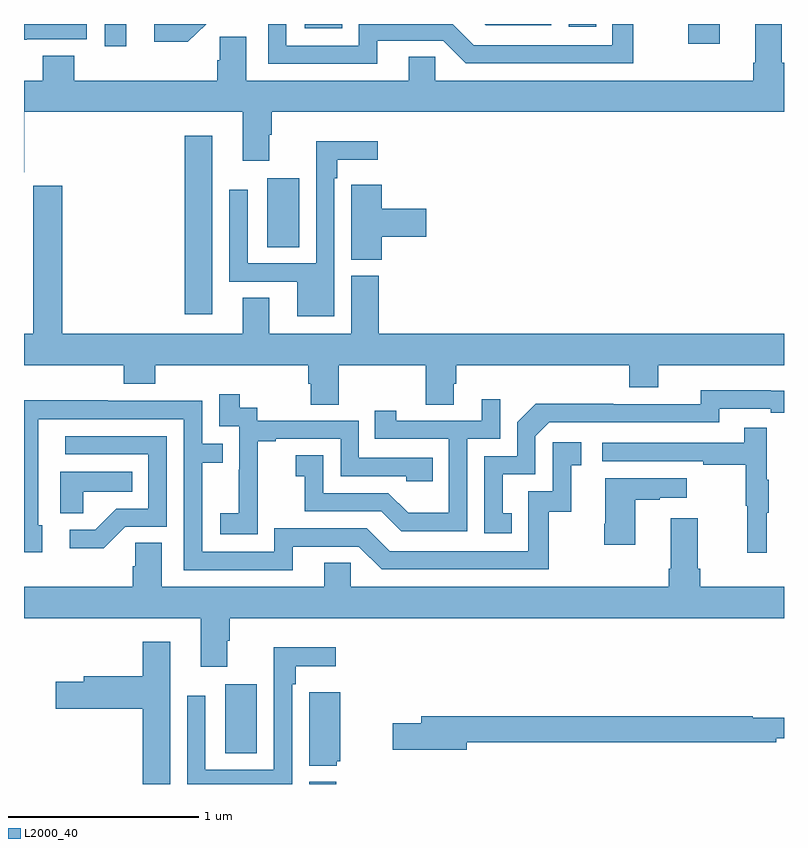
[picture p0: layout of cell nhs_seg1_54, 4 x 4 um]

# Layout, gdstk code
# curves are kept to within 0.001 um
import gdstk
lib = gdstk.Library(unit=1e-6, precision=1e-09)
def R(c, l, rs):  # rectangles x0, y0, x1, y1
    for r in rs: c.add(gdstk.rectangle(r[:2], r[2:], *l))
def P(c, l, *ps):  # polygons
    for p in ps: c.add(gdstk.Polygon(p, *l))
L2000_40 = (2000, 40)

nhs_seg1_54 = lib.new_cell('nhs_seg1_54')
R(nhs_seg1_54, L2000_40, [(114.5,544.199,114.644,544.21), (114.059,544.36,114.226,544.723), (113.846,546.672,113.992,547.612), (114.281,547.024,114.448,547.387), (113.424,548.082,113.539,548.199), (116.497,548.094,116.662,548.199), (114.477,548.177,114.675,548.199), (115.866,548.184,116.012,548.199)])
P(nhs_seg1_54, L2000_40, [(113.002,547.736),(114.152,547.736),(114.152,547.479),(114.292,547.479),(114.292,547.616),(114.305,547.616),(114.305,547.736),(117,547.736),(117,547.996),(116.989,547.996),(116.989,548.199),(116.849,548.199),(116.849,547.996),(116.837,547.996),(116.837,547.9),(115.164,547.9),(115.164,548.027),(115.025,548.027),(115.025,547.9),(114.169,547.9),(114.169,548.132),(114.03,548.132),(114.03,548.009),(114.017,548.009),(114.017,547.9),(113.264,547.9),(113.264,548.033),(113.099,548.033),(113.099,547.9),(113,547.9),(113,547.419),(113.002,547.419)],
  [(113.958,548.199),(113.685,548.199),(113.685,548.105),(113.863,548.105)],
  [(113.015,548.118),(113.331,548.118),(113.331,548.199),(113,548.199),(113,548.117),(113.015,548.117)],
  [(114.859,548.112),(115.206,548.112),(115.326,547.992),(116.206,547.992),(116.206,548.199),(116.097,548.199),(116.097,548.088),(115.368,548.088),(115.257,548.199),(114.762,548.199),(114.762,548.085),(114.381,548.085),(114.381,548.199),(114.285,548.199),(114.285,547.989),(114.859,547.989)],
  [(115.776,548.199),(115.424,548.199),(115.43,548.193),(115.776,548.193)],
  [(114.633,547.388),(114.649,547.388),(114.649,547.484),(114.862,547.484),(114.862,547.582),(114.537,547.582),(114.537,546.939),(114.177,546.939),(114.177,547.327),(114.081,547.327),(114.081,546.843),(114.437,546.843),(114.437,546.662),(114.633,546.662)],
  [(114.884,547.079),(115.117,547.079),(115.117,547.226),(114.884,547.226),(114.884,547.354),(114.723,547.354),(114.723,547.241),(114.722,547.241),(114.722,546.958),(114.884,546.958)],
  [(114.657,546.404),(115.114,546.404),(115.114,546.196),(115.261,546.196),(115.261,546.306),(115.274,546.306),(115.274,546.404),(116.186,546.404),(116.186,546.287),(116.338,546.287),(116.338,546.404),(117,546.404),(117,546.568),(114.866,546.568),(114.866,546.873),(114.722,546.873),(114.722,546.568),(114.292,546.568),(114.292,546.758),(114.152,546.758),(114.152,546.568),(113.201,546.568),(113.201,547.347),(113.048,547.347),(113.048,546.568),(113,546.568),(113,546.404),(113.525,546.404),(113.525,546.305),(113.69,546.305),(113.69,546.404),(114.497,546.404),(114.497,546.306),(114.509,546.306),(114.509,546.196),(114.657,546.196)],
  [(115.568,545.625),(115.519,545.625),(115.519,545.829),(115.692,545.829),(115.692,546.03),(115.764,546.102),(116.658,546.102),(116.658,546.174),(116.93,546.174),(116.93,546.154),(117,546.154),(117,546.27),(116.562,546.271),(116.562,546.198),(116.102,546.198),(116.102,546.2),(115.694,546.2),(115.596,546.102),(115.596,545.925),(115.422,545.925),(115.422,545.52),(115.568,545.52)],
  [(114.231,545.719),(114.23,545.719),(114.23,546.003),(114.325,546.003),(114.325,546.015),(114.666,546.015),(114.666,545.82),(115.011,545.82),(115.011,545.793),(115.151,545.793),(115.151,545.916),(114.762,545.916),(114.762,546.111),(114.228,546.111),(114.228,546.18),(114.136,546.18),(114.136,546.25),(114.027,546.25),(114.027,546.081),(114.132,546.081),(114.132,545.852),(114.131,545.852),(114.131,545.623),(114.033,545.623),(114.033,545.513),(114.231,545.513)],
  [(115.332,546.015),(115.506,546.015),(115.506,546.223),(115.409,546.223),(115.409,546.111),(114.958,546.111),(114.958,546.163),(114.847,546.163),(114.847,546.015),(115.236,546.015),(115.236,545.626),(115.022,545.626),(114.918,545.73),(114.576,545.73),(114.576,545.929),(114.429,545.929),(114.429,545.819),(114.478,545.819),(114.478,545.634),(114.881,545.634),(114.986,545.529),(115.332,545.529)],
  [(114.415,545.448),(114.762,545.448),(114.882,545.328),(115.762,545.328),(115.762,545.631),(115.88,545.631),(115.88,545.877),(115.933,545.877),(115.933,545.998),(115.782,545.998),(115.782,545.739),(115.653,545.739),(115.653,545.424),(114.924,545.424),(114.804,545.544),(114.318,545.544),(114.318,545.421),(113.937,545.421),(113.937,545.89),(114.047,545.89),(114.047,545.991),(113.937,545.991),(113.937,546.216),(113.441,546.216),(113.441,546.218),(113,546.218),(113,545.418),(113.095,545.418),(113.095,545.562),(113.076,545.562),(113.076,546.12),(113.841,546.12),(113.841,545.325),(114.415,545.325)],
  [(116.909,545.627),(116.92,545.627),(116.92,545.801),(116.909,545.801),(116.909,546.073),(116.791,546.073),(116.791,545.994),(116.043,545.994),(116.043,545.898),(116.575,545.898),(116.575,545.878),(116.799,545.878),(116.799,545.664),(116.806,545.664),(116.806,545.415),(116.909,545.415)],
  [(113.532,545.553),(113.751,545.553),(113.751,546.03),(113.217,546.03),(113.217,545.934),(113.655,545.934),(113.655,545.649),(113.486,545.649),(113.375,545.538),(113.241,545.538),(113.241,545.441),(113.419,545.441)],
  [(113.313,545.738),(113.57,545.738),(113.57,545.842),(113.192,545.842),(113.192,545.623),(113.313,545.623)],
  [(116.218,545.695),(116.345,545.695),(116.345,545.705),(116.488,545.705),(116.488,545.809),(116.06,545.809),(116.06,545.569),(116.053,545.569),(116.053,545.457),(116.218,545.457)],
  [(114.07,544.952),(114.083,544.952),(114.083,545.072),(117,545.072),(117,545.236),(116.558,545.236),(116.558,545.332),(116.545,545.332),(116.545,545.599),(116.405,545.599),(116.405,545.332),(116.393,545.332),(116.393,545.236),(114.72,545.236),(114.72,545.363),(114.581,545.363),(114.581,545.236),(113.725,545.236),(113.725,545.468),(113.586,545.468),(113.586,545.345),(113.573,545.345),(113.573,545.236),(113,545.236),(113,545.072),(113.93,545.072),(113.93,544.815),(114.07,544.815)],
  [(113.77,544.948),(113.624,544.948),(113.624,544.767),(113.315,544.767),(113.315,544.737),(113.166,544.737),(113.166,544.595),(113.624,544.595),(113.624,544.199),(113.77,544.199)],
  [(114.411,544.724),(114.431,544.724),(114.431,544.82),(114.64,544.82),(114.64,544.918),(114.315,544.918),(114.315,544.275),(113.955,544.275),(113.955,544.663),(113.859,544.663),(113.859,544.199),(114.411,544.199)],
  [(114.645,544.32),(114.664,544.32),(114.664,544.681),(114.5,544.681),(114.5,544.295),(114.645,544.295)],
  [(115.33,544.42),(116.96,544.42),(116.96,544.439),(117,544.439),(117,544.549),(116.836,544.549),(116.836,544.556),(115.091,544.556),(115.091,544.52),(114.942,544.52),(114.942,544.378),(115.33,544.378)])

lib.write_gds('nhs_seg1_54.gds')
